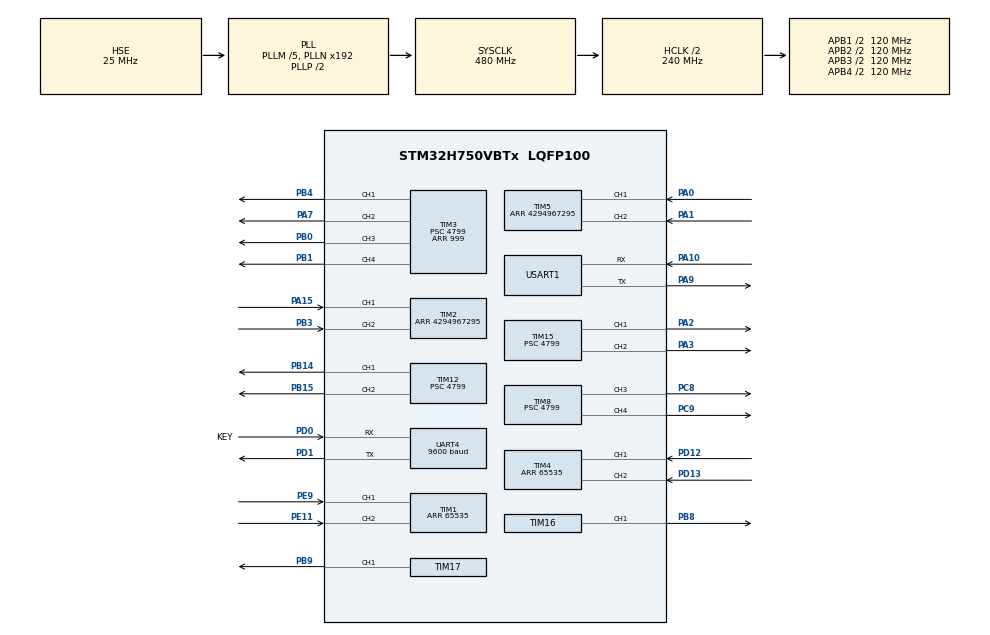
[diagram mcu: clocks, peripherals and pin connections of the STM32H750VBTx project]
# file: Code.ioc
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Dma.Request0=UART4_RX
Dma.UART4_RX.0.Direction=DMA_PERIPH_TO_MEMORY
Dma.UART4_RX.0.EventEnable=DISABLE
Dma.UART4_RX.0.FIFOMode=DMA_FIFOMODE_DISABLE
Dma.UART4_RX.0.Instance=DMA1_Stream0
Dma.UART4_RX.0.MemDataAlignment=DMA_MDATAALIGN_BYTE
Dma.UART4_RX.0.MemInc=DMA_MINC_ENABLE
Dma.UART4_RX.0.Mode=DMA_CIRCULAR
Dma.UART4_RX.0.PeriphDataAlignment=DMA_PDATAALIGN_BYTE
Dma.UART4_RX.0.PeriphInc=DMA_PINC_DISABLE
Dma.UART4_RX.0.Polarity=HAL_DMAMUX_REQ_GEN_RISING
Dma.UART4_RX.0.Priority=DMA_PRIORITY_LOW
Dma.UART4_RX.0.RequestNumber=1
Dma.UART4_RX.0.SignalID=NONE
Dma.UART4_RX.0.SyncEnable=DISABLE
Dma.UART4_RX.0.SyncPolarity=HAL_DMAMUX_SYNC_NO_EVENT
Dma.UART4_RX.0.SyncRequestNumber=1
Dma.UART4_RX.0.SyncSignalID=NONE
Mcu.Family=STM32H7
Mcu.Name=STM32H750VBTx
Mcu.Package=LQFP100
NVIC.DMA1_Stream0_IRQn=true\:0\:0\:false\:false\:true\:false\:true
NVIC.PriorityGroup=NVIC_PRIORITYGROUP_4
PA0.Signal=S_TIM5_CH1
PA1.Signal=S_TIM5_CH2
PA10.Mode=Asynchronous
PA10.Signal=USART1_RX
PA13\ (JTMS/SWDIO).Mode=Serial_Wire
PA13\ (JTMS/SWDIO).Signal=DEBUG_JTMS-SWDIO
PA14\ (JTCK/SWCLK).Mode=Serial_Wire
PA14\ (JTCK/SWCLK).Signal=DEBUG_JTCK-SWCLK
PA15\ (JTDI).Signal=S_TIM2_CH1
PA2.Signal=S_TIM15_CH1
PA3.Signal=S_TIM15_CH2
PA7.Signal=S_TIM3_CH2
PA9.Mode=Asynchronous
PA9.Signal=USART1_TX
PB0.Signal=S_TIM3_CH3
PB1.Signal=S_TIM3_CH4
PB14.Signal=S_TIM12_CH1
PB15.Signal=S_TIM12_CH2
PB3\ (JTDO/TRACESWO).Signal=S_TIM2_CH2
PB4\ (NJTRST).Signal=S_TIM3_CH1
PB8.Signal=S_TIM16_CH1
PB9.Signal=S_TIM17_CH1
PC14-OSC32_IN\ (OSC32_IN).Mode=LSE-External-Oscillator
PC14-OSC32_IN\ (OSC32_IN).Signal=RCC_OSC32_IN
PC15-OSC32_OUT\ (OSC32_OUT).Mode=LSE-External-Oscillator
PC15-OSC32_OUT\ (OSC32_OUT).Signal=RCC_OSC32_OUT
PC8.Signal=S_TIM8_CH3
PC9.Signal=S_TIM8_CH4
PD0.GPIO_Label=KEY
PD0.GPIO_PuPd=GPIO_NOPULL
PD0.Mode=Asynchronous
PD0.Signal=UART4_RX
PD1.Mode=Asynchronous
PD1.Signal=UART4_TX
PD12.Signal=S_TIM4_CH1
PD13.Signal=S_TIM4_CH2
PE11.Signal=S_TIM1_CH2
PE9.Signal=S_TIM1_CH1
PH0-OSC_IN\ (PH0).Mode=HSE-External-Oscillator
PH0-OSC_IN\ (PH0).Signal=RCC_OSC_IN
PH1-OSC_OUT\ (PH1).Mode=HSE-External-Oscillator
PH1-OSC_OUT\ (PH1).Signal=RCC_OSC_OUT
ProjectManager.HeapSize=0x200
ProjectManager.StackSize=0x400
ProjectManager.TargetToolchain=MDK-ARM V5
RCC.ADCFreq_Value=50390625
RCC.APB1Freq_Value=120000000
RCC.APB2Freq_Value=120000000
RCC.APB3Freq_Value=120000000
RCC.APB4Freq_Value=120000000
RCC.CortexFreq_Value=480000000
RCC.D1PPRE=RCC_APB3_DIV2
RCC.D2PPRE1=RCC_APB1_DIV2
RCC.D2PPRE2=RCC_APB2_DIV2
RCC.D3PPRE=RCC_APB4_DIV2
RCC.DIVM1=5
RCC.DIVN1=192
RCC.HCLKFreq_Value=240000000
RCC.HPRE=RCC_HCLK_DIV2
RCC.PLL2FRACN=0
RCC.PLL3FRACN=0
RCC.PLLFRACN=0
RCC.PLLSourceVirtual=RCC_PLLSOURCE_HSE
RCC.SYSCLKFreq_VALUE=480000000
RCC.SYSCLKSource=RCC_SYSCLKSOURCE_PLLCLK
RCC.USBFreq_Value=480000000
SH.S_TIM12_CH1.0=TIM12_CH1,PWM Generation1 CH1
SH.S_TIM12_CH2.0=TIM12_CH2,PWM Generation2 CH2
SH.S_TIM15_CH1.0=TIM15_CH1,PWM Generation1 CH1
SH.S_TIM15_CH2.0=TIM15_CH2,PWM Generation2 CH2
SH.S_TIM16_CH1.0=TIM16_CH1,PWM Generation1 CH1
SH.S_TIM17_CH1.0=TIM17_CH1,PWM Generation1 CH1
SH.S_TIM1_CH1.0=TIM1_CH1,Encoder_Interface
SH.S_TIM1_CH2.0=TIM1_CH2,Encoder_Interface
SH.S_TIM2_CH1.0=TIM2_CH1,Encoder_Interface
SH.S_TIM2_CH2.0=TIM2_CH2,Encoder_Interface
SH.S_TIM3_CH1.0=TIM3_CH1,PWM Generation1 CH1
SH.S_TIM3_CH2.0=TIM3_CH2,PWM Generation2 CH2
SH.S_TIM3_CH3.0=TIM3_CH3,PWM Generation3 CH3
SH.S_TIM3_CH4.0=TIM3_CH4,PWM Generation4 CH4
SH.S_TIM4_CH1.0=TIM4_CH1,Encoder_Interface
SH.S_TIM4_CH2.0=TIM4_CH2,Encoder_Interface
SH.S_TIM5_CH1.0=TIM5_CH1,Encoder_Interface
SH.S_TIM5_CH2.0=TIM5_CH2,Encoder_Interface
SH.S_TIM8_CH3.0=TIM8_CH3,PWM Generation3 CH3
SH.S_TIM8_CH4.0=TIM8_CH4,PWM Generation4 CH4
TIM1.AutoReloadPreload=TIM_AUTORELOAD_PRELOAD_DISABLE
TIM1.Period=65535
TIM12.AutoReloadPreload=TIM_AUTORELOAD_PRELOAD_ENABLE
TIM12.Channel-PWM\ Generation1\ CH1=TIM_CHANNEL_1
TIM12.Channel-PWM\ Generation2\ CH2=TIM_CHANNEL_2
TIM12.Period=999
TIM12.Prescaler=4799
TIM15.AutoReloadPreload=TIM_AUTORELOAD_PRELOAD_ENABLE
TIM15.Channel-PWM\ Generation1\ CH1=TIM_CHANNEL_1
TIM15.Channel-PWM\ Generation2\ CH2=TIM_CHANNEL_2
TIM15.Period=999
TIM15.Prescaler=4799
TIM16.AutoReloadPreload=TIM_AUTORELOAD_PRELOAD_ENABLE
TIM16.Channel=TIM_CHANNEL_1
TIM16.Period=999
TIM16.Prescaler=4799
TIM17.AutoReloadPreload=TIM_AUTORELOAD_PRELOAD_ENABLE
TIM17.Channel=TIM_CHANNEL_1
TIM17.Period=999
TIM17.Prescaler=4799
TIM2.AutoReloadPreload=TIM_AUTORELOAD_PRELOAD_DISABLE
TIM2.Period=4294967295
TIM3.AutoReloadPreload=TIM_AUTORELOAD_PRELOAD_ENABLE
TIM3.Channel-PWM\ Generation1\ CH1=TIM_CHANNEL_1
TIM3.Channel-PWM\ Generation2\ CH2=TIM_CHANNEL_2
TIM3.Channel-PWM\ Generation3\ CH3=TIM_CHANNEL_3
TIM3.Channel-PWM\ Generation4\ CH4=TIM_CHANNEL_4
TIM3.Period=999
TIM3.Prescaler=4799
TIM4.AutoReloadPreload=TIM_AUTORELOAD_PRELOAD_DISABLE
TIM4.Period=65535
TIM5.AutoReloadPreload=TIM_AUTORELOAD_PRELOAD_DISABLE
TIM5.Period=4294967295
TIM8.AutoReloadPreload=TIM_AUTORELOAD_PRELOAD_ENABLE
TIM8.Channel-PWM\ Generation3\ CH3=TIM_CHANNEL_3
TIM8.Channel-PWM\ Generation4\ CH4=TIM_CHANNEL_4
TIM8.Period=999
TIM8.Prescaler=4799
UART4.BaudRate=9600
USART1.VirtualMode-Asynchronous=VM_ASYNC
VP_TIM12_VS_ClockSourceINT.Mode=Internal
VP_TIM16_VS_ClockSourceINT.Mode=Enable_Timer
VP_TIM17_VS_ClockSourceINT.Mode=Enable_Timer
VP_TIM3_VS_ClockSourceINT.Mode=Internal
VP_TIM8_VS_ClockSourceINT.Mode=Internal
board=custom

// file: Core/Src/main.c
/* USER CODE BEGIN Header */
/**
  ******************************************************************************
  * @file           : main.c
  * @brief          : Main program body
  ******************************************************************************
  * @attention
  *
  * <h2><center>&copy; Copyright (c) 2021 STMicroelectronics.
  * All rights reserved.</center></h2>
  *
  * This software component is licensed by ST under BSD 3-Clause license,
  * the "License"; You may not use this file except in compliance with the
  * License. You may obtain a copy of the License at:
  *                        opensource.org/licenses/BSD-3-Clause
  *
  ******************************************************************************
  */
/* USER CODE END Header */
#include "main.h"
#include "dma.h"
#include "tim.h"
#include "usart.h"
#include "gpio.h"

/* USER CODE BEGIN Includes */
#include "pid.h"
#include "ble_remote.h"
#include <stdio.h>
/* USER CODE END Includes */

/* USER CODE BEGIN PD */

#define T1 &htim1
#define T2 &htim2
#define T3 &htim3
#define T4 &htim4
#define T5 &htim5
#define T6 &htim6
#define T7 &htim7
#define T8 &htim8
#define T9 &htim9
#define T10 &htim10
#define T11 &htim11
#define T12 &htim12
#define T13 &htim13
#define T14 &htim14
#define T15 &htim15
#define T16 &htim16
#define T17 &htim17

#define C1 TIM_CHANNEL_1
#define C2 TIM_CHANNEL_2
#define C3 TIM_CHANNEL_3
#define C4 TIM_CHANNEL_4
#define C5 TIM_CHANNEL_5
#define C6 TIM_CHANNEL_6

/* USER CODE END PD */

/* USER CODE BEGIN PV */
uint8_t data[11];
uint8_t swi[4];
int16_t xyz[3];
int16_t chassis[4];

/*set steering angle*/
int PWMS[4],angle[4]={25,25,25,25},angle1[4]={125,125,125,125},angle2[4]={100,100,100,100};

int PWMLF1,PWMLF2,PWMRF1,PWMRF2,PWMLB1,PWMLB2,PWMRB1,PWMRB2;
int x,y,z;
int16_t fdb[4];
int number[3],receive[4];
int16_t message[8];

/* USER CODE END PV */

void SystemClock_Config(void);

/* USER CODE BEGIN 0 */

int16_t Max(int16_t in, int16_t m)
    {
        if (in > m)
        {
           return m;
        }
        else if (in < -m)
        {
           return -m;
        }
				else
				{
					return in;
				}
    }

void Start_Pwm()
{
	HAL_TIM_Base_Start(T3);
	HAL_TIM_PWM_Start(T3,C4);		//m1+
	HAL_TIM_PWM_Start(T3,C2);		//m1-

	HAL_TIM_Base_Start(T15);
	HAL_TIM_Base_Start(T8);
	HAL_TIM_PWM_Start(T15,C2);	//m2+
	HAL_TIM_PWM_Start(T8,C4);		//m2-

	HAL_TIM_Base_Start(T12);
	HAL_TIM_PWM_Start(T12,C1);	//m3+
	HAL_TIM_PWM_Start(T12,C2);	//m3-

	HAL_TIM_Base_Start(T15);
	HAL_TIM_Base_Start(T17);
	HAL_TIM_PWM_Start(T15,C1);	//m4+
	HAL_TIM_PWM_Start(T17,C1);	//m4-

	HAL_TIM_Base_Start(T16);

	HAL_TIM_PWM_Start(T3,C3);		//S1
	HAL_TIM_PWM_Start(T8,C3);		//S2
	HAL_TIM_PWM_Start(T3,C1);		//S3
	HAL_TIM_PWM_Start(T16,C1);		//S4
}

void Set_Pwm(int m1,int m2,int m3,int m4,int s0,int s1,int s2,int s3)
{
	  	if(m1>0)			    PWMLF1=m1,PWMLF2=0;
			else 	          PWMLF2=m1,PWMLF1=0;

		  if(m2>0)		    	PWMLB1=m2,PWMLB2=0;
			else 	          PWMLB2=m2,PWMLB1=0;

	    if(m3>0)			    PWMRB1=m3,PWMRB2=0;
			else 	          PWMRB2=m3,PWMRB1=0;

	    if(m4>0)			    PWMRF1=m4,PWMRF2=0;
			else 	          PWMRF2=m4,PWMRF1=0;

			if(s1!=0)			    PWMS[0]=angle2[0];
			else if(s0!=0)		PWMS[0]=angle1[0];
			else							PWMS[0]=angle[0];

			if(s2!=0)			    PWMS[2]=angle1[2];
			else 	          PWMS[2]=angle[2];

			if(s3!=0)			    PWMS[3]=angle1[3];
			else 	          PWMS[3]=angle[3];

}

void run_Pwm()
{
    __HAL_TIM_SetCompare(T3, C4, PWMLF1);	//M1+
		__HAL_TIM_SetCompare(T3, C2, PWMLF2);	//M1-

		__HAL_TIM_SetCompare(T15, C2, PWMLB1);	//M2+
		__HAL_TIM_SetCompare(T8, C4, PWMLB2);		//M2-

	/*reverse motor*/
		__HAL_TIM_SetCompare(T12,C2, PWMRB1);	//M3-
		__HAL_TIM_SetCompare(T12,C1, PWMRB2);	//M3+

		__HAL_TIM_SetCompare(T17,C1, PWMRF1);	//M4-
		__HAL_TIM_SetCompare(T15,C1, PWMRF2);	//M4+

	/*steering motor*/
		__HAL_TIM_SetCompare(T3, C3, PWMS[0]);	//S1
	__HAL_TIM_SetCompare(T8, C3, PWMS[1]);	//S2
	__HAL_TIM_SetCompare(T3, C1, PWMS[2]);	//S3
	__HAL_TIM_SetCompare(T16, C1, PWMS[3]);	//S4
}

/* USER CODE END 0 */

int main(void)
{

  /* MCU Configuration--------------------------------------------------------*/

  /* Reset of all peripherals, Initializes the Flash interface and the Systick. */
  HAL_Init();

  /* Configure the system clock */
  SystemClock_Config();

  /* Initialize all configured peripherals */
  MX_GPIO_Init();
  MX_DMA_Init();
  MX_TIM3_Init();
  MX_TIM8_Init();
  MX_TIM12_Init();
  MX_TIM15_Init();
  MX_TIM17_Init();
  MX_UART4_Init();
  MX_TIM1_Init();
  MX_TIM2_Init();
  MX_TIM4_Init();
  MX_TIM5_Init();
  MX_USART1_UART_Init();
  MX_TIM16_Init();
  /* USER CODE BEGIN 2 */

/**************************************************************/
/*Init Begin*/

	Start_Pwm();
	HAL_UART_Receive_DMA(&huart4,data,11);

	/*************************
	PID SETTING
	*************************/
	HAL_TIM_Encoder_Start(&htim1,TIM_CHANNEL_ALL);
	HAL_TIM_Encoder_Start(&htim2,TIM_CHANNEL_ALL);
	HAL_TIM_Encoder_Start(&htim4,TIM_CHANNEL_ALL);
	HAL_TIM_Encoder_Start(&htim5,TIM_CHANNEL_ALL);
	PID_Regulator_t pid0;
	PID_Regulator_t pid1;
	PID_Regulator_t pid2;
	PID_Regulator_t pid3;
	PID_Init( &pid0,0, 500,100,4.5,0.4,0.4);
	PID_Init( &pid1,0, 500,100,4.5,0.4,0.4);
		/*reverse motor*/
	PID_Init( &pid2,0, 500,100,4.5,0.4,0.4);
	PID_Init( &pid3,0, 500,100,4.5,0.4,0.4);

/*Init End*/
/**************************************************************/

	const remote_t *r=get_remote_control_point();
	for(int i=0;i<4;i++)
{
  chassis[i]=0;
	receive[i]=0;
}
  /* USER CODE END 2 */

  /* Infinite loop */
  while (1)
  {

    /* USER CODE BEGIN 3 */

		/*chassis control*/
		xyz[0]=Max(r->rocker[0].y_position,150);
		xyz[1]=Max(r->rocker[0].x_position,150);
		xyz[2]=Max(r->rocker[1].x_position,150);
		chassis[0]=-xyz[0]+xyz[1]+xyz[2];			//MT1
    chassis[1]=-xyz[0]-xyz[1]+xyz[2];			//MT2
    chassis[2]=-xyz[0]+xyz[1]-xyz[2];		//MT3
    chassis[3]=-xyz[0]-xyz[1]-xyz[2];		//MT4
		/*********************
		********PID***********
		*********************/
		  fdb[0]=__HAL_TIM_GET_COUNTER(&htim1);		//MT1
		  fdb[1]=__HAL_TIM_GET_COUNTER(&htim2);		//MT2
		/*reverse PID*/
		  fdb[2]=-__HAL_TIM_GET_COUNTER(&htim4);		//MT3
		  fdb[3]=-__HAL_TIM_GET_COUNTER(&htim5);		//MT4

		__HAL_TIM_SetCounter(&htim1,0);
		__HAL_TIM_SetCounter(&htim2,0);
		__HAL_TIM_SetCounter(&htim4,0);
		__HAL_TIM_SetCounter(&htim5,0);

		  receive[0]=PID_Calculate(&pid0, fdb[0], chassis[0]);
		  receive[1]=PID_Calculate(&pid1, fdb[1], chassis[1]);
		  receive[2]=PID_Calculate(&pid2, fdb[2], chassis[2]);
			receive[3]=PID_Calculate(&pid3, fdb[3], chassis[3]);

		message[0]=chassis[0];
		message[1]=fdb[0];
//		sendware(message,sizeof(message));

		/*steering control*/
		swi[0]=r->Switch[0];
		swi[1]=r->Switch[1];
		swi[2]=r->Switch[2];
		swi[3]=r->Switch[3];

		/*move*/
    Set_Pwm(receive[0],receive[1],receive[2],receive[3],swi[0],swi[1],swi[2],swi[3]);		//bi  huan
//		Set_Pwm(0,0,0,0,swi[0],swi[1],swi[2],swi[3]);		//kai huan
	  run_Pwm();

		HAL_Delay(30);

  }
  /* USER CODE END 3 */
}

void SystemClock_Config(void)
{
  RCC_OscInitTypeDef RCC_OscInitStruct = {0};
  RCC_ClkInitTypeDef RCC_ClkInitStruct = {0};
  RCC_PeriphCLKInitTypeDef PeriphClkInitStruct = {0};

  /** Supply configuration update enable
  */
  HAL_PWREx_ConfigSupply(PWR_LDO_SUPPLY);
  /** Configure the main internal regulator output voltage
  */
  __HAL_PWR_VOLTAGESCALING_CONFIG(PWR_REGULATOR_VOLTAGE_SCALE0);

  while(!__HAL_PWR_GET_FLAG(PWR_FLAG_VOSRDY)) {}
  /** Initializes the RCC Oscillators according to the specified parameters
  * in the RCC_OscInitTypeDef structure.
  */
  RCC_OscInitStruct.OscillatorType = RCC_OSCILLATORTYPE_HSE;
  RCC_OscInitStruct.HSEState = RCC_HSE_ON;
  RCC_OscInitStruct.PLL.PLLState = RCC_PLL_ON;
  RCC_OscInitStruct.PLL.PLLSource = RCC_PLLSOURCE_HSE;
  RCC_OscInitStruct.PLL.PLLM = 5;
  RCC_OscInitStruct.PLL.PLLN = 192;
  RCC_OscInitStruct.PLL.PLLP = 2;
  RCC_OscInitStruct.PLL.PLLQ = 2;
  RCC_OscInitStruct.PLL.PLLR = 2;
  RCC_OscInitStruct.PLL.PLLRGE = RCC_PLL1VCIRANGE_2;
  RCC_OscInitStruct.PLL.PLLVCOSEL = RCC_PLL1VCOWIDE;
  RCC_OscInitStruct.PLL.PLLFRACN = 0;
  if (HAL_RCC_OscConfig(&RCC_OscInitStruct) != HAL_OK)
  {
    Error_Handler();
  }
  /** Initializes the CPU, AHB and APB buses clocks
  */
  RCC_ClkInitStruct.ClockType = RCC_CLOCKTYPE_HCLK|RCC_CLOCKTYPE_SYSCLK
                              |RCC_CLOCKTYPE_PCLK1|RCC_CLOCKTYPE_PCLK2
                              |RCC_CLOCKTYPE_D3PCLK1|RCC_CLOCKTYPE_D1PCLK1;
  RCC_ClkInitStruct.SYSCLKSource = RCC_SYSCLKSOURCE_PLLCLK;
  RCC_ClkInitStruct.SYSCLKDivider = RCC_SYSCLK_DIV1;
  RCC_ClkInitStruct.AHBCLKDivider = RCC_HCLK_DIV2;
  RCC_ClkInitStruct.APB3CLKDivider = RCC_APB3_DIV2;
  RCC_ClkInitStruct.APB1CLKDivider = RCC_APB1_DIV2;
  RCC_ClkInitStruct.APB2CLKDivider = RCC_APB2_DIV2;
  RCC_ClkInitStruct.APB4CLKDivider = RCC_APB4_DIV2;

  if (HAL_RCC_ClockConfig(&RCC_ClkInitStruct, FLASH_LATENCY_4) != HAL_OK)
  {
    Error_Handler();
  }
  PeriphClkInitStruct.PeriphClockSelection = RCC_PERIPHCLK_UART4|RCC_PERIPHCLK_USART1;
  PeriphClkInitStruct.Usart234578ClockSelection = RCC_USART234578CLKSOURCE_D2PCLK1;
  PeriphClkInitStruct.Usart16ClockSelection = RCC_USART16CLKSOURCE_D2PCLK2;
  if (HAL_RCCEx_PeriphCLKConfig(&PeriphClkInitStruct) != HAL_OK)
  {
    Error_Handler();
  }
}

/* USER CODE BEGIN 4 */

void HAL_UART_RxCpltCallback(UART_HandleTypeDef *huart)
{
	if(huart->Instance==UART4)
	{
		uart_to_remote(data);
	}
}

/* USER CODE END 4 */

void Error_Handler(void)
{
}

/************************ (C) COPYRIGHT STMicroelectronics *****END OF FILE****/
